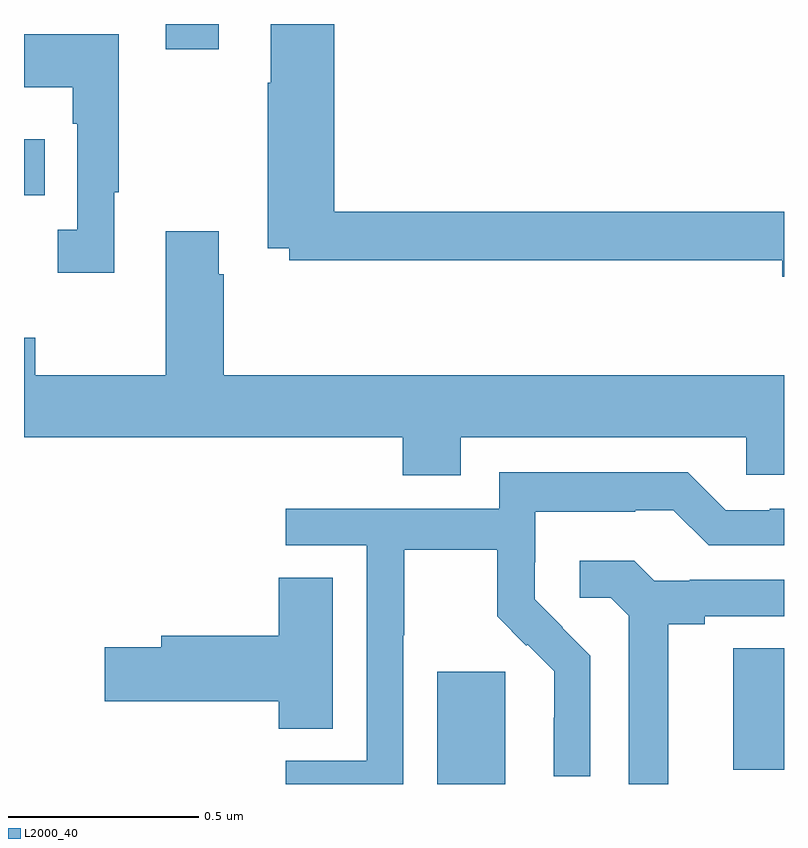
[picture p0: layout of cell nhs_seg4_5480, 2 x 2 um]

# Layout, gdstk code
import gdstk
lib = gdstk.Library(unit=1e-6, precision=1e-09)
def R(c, l, rs):  # rectangles x0, y0, x1, y1
    for r in rs: c.add(gdstk.rectangle(r[:2], r[2:], *l))
def P(c, l, *ps):  # polygons
    for p in ps: c.add(gdstk.Polygon(p, *l))
L2000_40 = (2000, 40)

nhs_seg4_5480 = lib.new_cell('nhs_seg4_5480')
R(nhs_seg4_5480, L2000_40, [(179.087,803.9,179.266,804.195), (179.867,803.937,180,804.257), (178,805.45,178.055,805.597), (178.373,805.833,178.513,805.9)])
P(nhs_seg4_5480, L2000_40, [(180,805.406),(178.817,805.406),(178.817,805.9),(178.649,805.9),(178.649,805.745),(178.642,805.745),(178.642,805.31),(178.698,805.31),(178.698,805.278),(179.996,805.278),(179.996,805.235),(180,805.235)],
  [(178.237,805.457),(178.249,805.457),(178.249,805.873),(178,805.873),(178,805.733),(178.128,805.733),(178.128,805.637),(178.14,805.637),(178.14,805.358),(178.089,805.358),(178.089,805.245),(178.237,805.245)],
  [(179.149,804.812),(179.901,804.812),(179.901,804.714),(180,804.714),(180,804.976),(178.526,804.976),(178.526,805.241),(178.513,805.241),(178.513,805.354),(178.373,805.354),(178.373,804.976),(178.029,804.976),(178.029,805.075),(178,805.075),(178,804.812),(178.997,804.812),(178.997,804.713),(179.149,804.713)],
  [(178.998,804.292),(179.001,804.292),(179.001,804.516),(179.245,804.516),(179.245,804.341),(179.322,804.264),(179.325,804.267),(179.396,804.197),(179.396,804.074),(179.394,804.074),(179.394,803.92),(179.49,803.92),(179.49,804.238),(179.417,804.311),(179.418,804.312),(179.344,804.386),(179.344,804.483),(179.346,804.483),(179.346,804.617),(179.609,804.617),(179.609,804.621),(179.709,804.621),(179.802,804.528),(180,804.528),(180,804.624),(179.963,804.624),(179.963,804.621),(179.847,804.621),(179.747,804.721),(179.25,804.721),(179.25,804.624),(178.689,804.624),(178.689,804.528),(178.902,804.528),(178.902,803.961),(178.689,803.961),(178.689,803.9),(178.998,803.9)],
  [(179.695,804.32),(179.791,804.32),(179.791,804.342),(180,804.342),(180,804.438),(179.752,804.438),(179.752,804.435),(179.658,804.435),(179.606,804.487),(179.463,804.487),(179.463,804.39),(179.544,804.39),(179.591,804.343),(179.591,803.9),(179.695,803.9)],
  [(178.813,804.443),(178.67,804.443),(178.67,804.29),(178.361,804.29),(178.361,804.26),(178.212,804.26),(178.212,804.118),(178.67,804.118),(178.67,804.046),(178.813,804.046)])

lib.write_gds('nhs_seg4_5480.gds')
